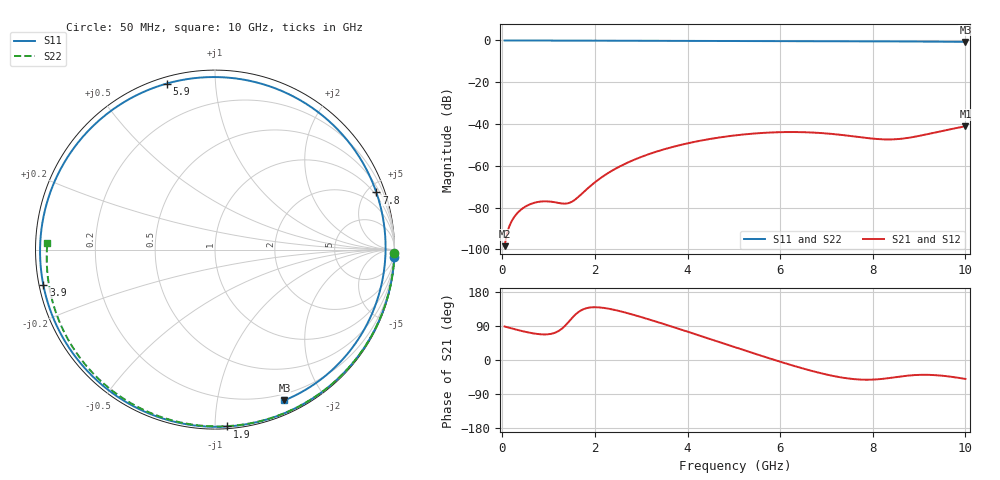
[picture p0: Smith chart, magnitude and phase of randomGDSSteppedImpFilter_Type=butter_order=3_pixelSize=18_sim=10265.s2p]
! freq	dB(S11)	phase(S11)	dB(S12)	phase(S12)
!  dB(S21)	phase(S21)	dB(S22)	phase(S22)
!S-par simulation data
#  GHz  S  DB  R 50
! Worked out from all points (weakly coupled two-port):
!   200 points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, 50 MHz to 10 GHz, reference 50 ohm
!   highest |S21| = -41.09 dB at 10 GHz (marker M1); lowest = -98.5 dB at 50 MHz (marker M2)
!   lowest |S11| = -0.7 dB at 10 GHz (marker M3), VSWR 25.55, Z = 6.71 - j77.7 ohm
!   |S11| at or under -10 dB: nowhere
!   |S22| runs from -0.6 to 0.0 dB; largest |S21 - S12| = 0
!   S11 on the Smith chart (normalised r, x): 50 MHz: 0, -48; 1.9 GHz: 0.01, -1.07; 3.9 GHz: 0.01, -0.10; 5.9 GHz: 0.03, +0.75; 7.8 GHz: 0.81, +5.71; 10 GHz: 0.13, -1.55
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0.05  -0.00 -2.4  -98.45 88.3  -98.45 88.3  -0.00 -1.1
0.45  -0.03 -21.1  -80.20 75.7  -80.20 75.7  -0.01 -9.4
0.65  -0.04 -30.4  -77.98 70.7  -77.98 70.7  -0.02 -13.6
0.95  -0.06 -44.1  -76.99 67.6  -76.99 67.6  -0.03 -19.9
1.4  -0.08 -64.4  -78.01 96.2  -78.01 96.2  -0.04 -29.1
1.55  -0.09 -71.0  -76.53 116.6  -76.53 116.6  -0.04 -32.2
1.75  -0.10 -79.7  -72.70 133.9  -72.70 133.9  -0.05 -36.2
1.9  -0.11 -86.2  -69.72 138.6  -69.72 138.6  -0.05 -39.3
2.6  -0.14 -115.5  -59.59 127.0  -59.59 127.0  -0.07 -53.1
3.4  -0.18 -148.1  -52.71 98.3  -52.71 98.3  -0.09 -68.4
3.9  -0.21 -168.3  -49.75 78.8  -49.75 78.8  -0.11 -77.7
4.45  -0.24 169.1  -47.28 56.8  -47.28 56.8  -0.13 -87.7
5.05  -0.28 143.8  -45.37 32.7  -45.37 32.7  -0.15 -98.3
5.5  -0.30 124.2  -44.44 14.8  -44.44 14.8  -0.17 -106.1
5.9  -0.32 106.3  -43.96 -0.7  -43.96 -0.7  -0.19 -112.9
6.3  -0.34 88.0  -43.83 -15.6  -43.83 -15.6  -0.22 -119.7
6.7  -0.36 69.5  -44.07 -29.3  -44.07 -29.3  -0.25 -126.3
7.3  -0.39 41.9  -45.14 -45.6  -45.14 -45.6  -0.29 -136.3
7.8  -0.41 19.5  -46.49 -52.0  -46.49 -52.0  -0.34 -144.6
8.35  -0.45 -4.0  -47.38 -47.7  -47.38 -47.7  -0.39 -153.7
9.2  -0.54 -37.3  -44.75 -39.2  -44.75 -39.2  -0.48 -168.2
10  -0.68 -65.3  -41.09 -50.0  -41.09 -50.0  -0.59 177.7
